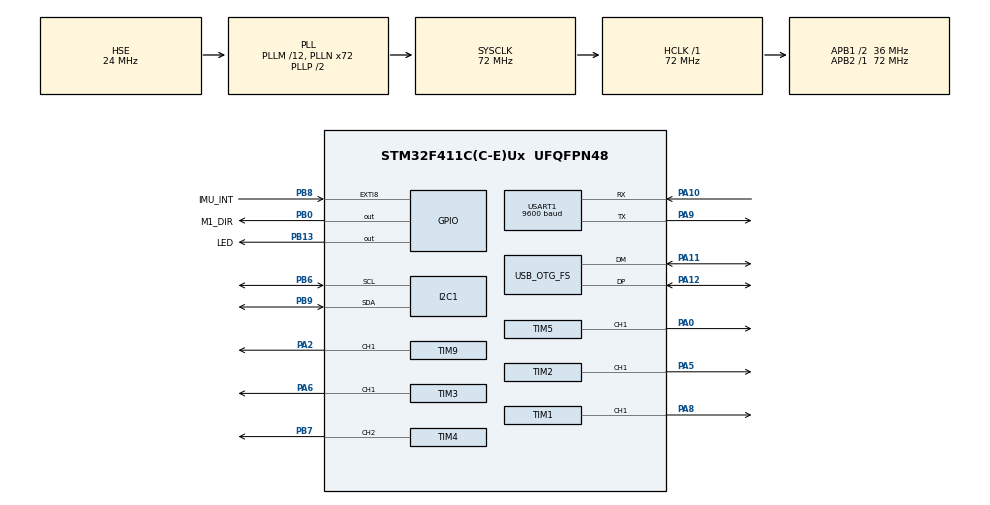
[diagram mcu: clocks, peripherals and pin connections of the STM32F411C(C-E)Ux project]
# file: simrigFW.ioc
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Dma.I2C1_RX.0.Direction=DMA_PERIPH_TO_MEMORY
Dma.I2C1_RX.0.FIFOMode=DMA_FIFOMODE_ENABLE
Dma.I2C1_RX.0.FIFOThreshold=DMA_FIFO_THRESHOLD_FULL
Dma.I2C1_RX.0.Instance=DMA1_Stream0
Dma.I2C1_RX.0.MemBurst=DMA_MBURST_INC16
Dma.I2C1_RX.0.MemDataAlignment=DMA_MDATAALIGN_BYTE
Dma.I2C1_RX.0.MemInc=DMA_MINC_ENABLE
Dma.I2C1_RX.0.Mode=DMA_NORMAL
Dma.I2C1_RX.0.PeriphBurst=DMA_PBURST_SINGLE
Dma.I2C1_RX.0.PeriphDataAlignment=DMA_PDATAALIGN_BYTE
Dma.I2C1_RX.0.PeriphInc=DMA_PINC_DISABLE
Dma.I2C1_RX.0.Priority=DMA_PRIORITY_LOW
Dma.Request0=I2C1_RX
I2C1.I2C_Mode=I2C_Standard
Mcu.Family=STM32F4
Mcu.Name=STM32F411C(C-E)Ux
Mcu.Package=UFQFPN48
NVIC.DMA1_Stream0_IRQn=true\:0\:0\:false\:false\:true\:false\:true\:true
NVIC.EXTI9_5_IRQn=true\:0\:0\:false\:false\:true\:true\:true\:true
NVIC.OTG_FS_IRQn=true\:0\:0\:false\:false\:true\:false\:true\:true
NVIC.PriorityGroup=NVIC_PRIORITYGROUP_4
NVIC.TIM1_UP_TIM10_IRQn=true\:0\:0\:false\:false\:true\:true\:true\:true
PA0-WKUP.Signal=S_TIM5_CH1
PA10.Mode=Asynchronous
PA10.Signal=USART1_RX
PA11.Mode=Device_Only
PA11.Signal=USB_OTG_FS_DM
PA12.Mode=Device_Only
PA12.Signal=USB_OTG_FS_DP
PA13.Mode=Trace_Asynchronous_SW
PA13.Signal=SYS_JTMS-SWDIO
PA14.Mode=Trace_Asynchronous_SW
PA14.Signal=SYS_JTCK-SWCLK
PA2.Signal=S_TIM9_CH1
PA5.Signal=S_TIM2_CH1_ETR
PA6.Signal=S_TIM3_CH1
PA8.Signal=S_TIM1_CH1
PA9.Mode=Asynchronous
PA9.Signal=USART1_TX
PB0.GPIO_Label=M1_DIR
PB0.Signal=GPIO_Output
PB13.GPIO_Label=LED
PB13.Signal=GPIO_Output
PB3.Mode=Trace_Asynchronous_SW
PB3.Signal=SYS_JTDO-SWO
PB6.Mode=I2C
PB6.Signal=I2C1_SCL
PB7.Signal=S_TIM4_CH2
PB8.GPIO_Label=IMU_INT
PB8.Signal=GPXTI8
PB9.Mode=I2C
PB9.Signal=I2C1_SDA
PH0\ -\ OSC_IN.Mode=HSE-External-Oscillator
PH0\ -\ OSC_IN.Signal=RCC_OSC_IN
PH1\ -\ OSC_OUT.Mode=HSE-External-Oscillator
PH1\ -\ OSC_OUT.Signal=RCC_OSC_OUT
ProjectManager.HeapSize=0x200
ProjectManager.StackSize=0x400
ProjectManager.TargetToolchain=STM32CubeIDE
RCC.48MHZClocksFreq_Value=48000000
RCC.AHBFreq_Value=72000000
RCC.APB1CLKDivider=RCC_HCLK_DIV2
RCC.APB1Freq_Value=36000000
RCC.APB1TimFreq_Value=72000000
RCC.APB2Freq_Value=72000000
RCC.APB2TimFreq_Value=72000000
RCC.CortexFreq_Value=72000000
RCC.HCLKFreq_Value=72000000
RCC.HSE_VALUE=24000000
RCC.HSI_VALUE=16000000
RCC.LSE_VALUE=32768
RCC.PLLM=12
RCC.PLLN=72
RCC.PLLQ=3
RCC.SYSCLKFreq_VALUE=72000000
RCC.SYSCLKSource=RCC_SYSCLKSOURCE_PLLCLK
RCC.VCOOutputFreq_Value=144000000
SH.S_TIM1_CH1.0=TIM1_CH1,PWM Generation1 CH1
SH.S_TIM2_CH1_ETR.0=TIM2_CH1,PWM Generation1 CH1
SH.S_TIM3_CH1.0=TIM3_CH1,PWM Generation1 CH1
SH.S_TIM4_CH2.0=TIM4_CH2,PWM Generation2 CH2
SH.S_TIM5_CH1.0=TIM5_CH1,PWM Generation1 CH1
SH.S_TIM9_CH1.0=TIM9_CH1,PWM Generation1 CH1
TIM1.AutoReloadPreload=TIM_AUTORELOAD_PRELOAD_ENABLE
TIM1.Channel-PWM\ Generation1\ CH1=TIM_CHANNEL_1
TIM1.Period=4500
TIM1.Prescaler=0
TIM2.Channel-PWM\ Generation1\ CH1=TIM_CHANNEL_1
TIM2.Period=100-1
TIM2.Prescaler=7200-1
TIM3.Channel-PWM\ Generation1\ CH1=TIM_CHANNEL_1
TIM3.Period=100
TIM3.Prescaler=7200
TIM4.Channel-PWM\ Generation2\ CH2=TIM_CHANNEL_2
TIM4.Period=100-1
TIM4.Prescaler=7200-1
TIM5.Channel-PWM\ Generation1\ CH1=TIM_CHANNEL_1
TIM5.Period=100-1
TIM5.Prescaler=7200-1
TIM9.Channel-PWM\ Generation1\ CH1=TIM_CHANNEL_1
TIM9.Period=100-1
TIM9.Prescaler=7200-1
USART1.BaudRate=9600
USART1.VirtualMode=VM_ASYNC
USB_DEVICE.CLASS_NAME_FS=CDC
USB_DEVICE.VirtualMode=Cdc
USB_DEVICE.VirtualModeFS=Cdc_FS
USB_OTG_FS.VirtualMode=Device_Only
VP_TIM1_VS_ClockSourceINT.Mode=Internal
VP_TIM2_VS_ClockSourceINT.Mode=Internal
VP_TIM3_VS_ClockSourceINT.Mode=Internal
VP_TIM4_VS_ClockSourceINT.Mode=Internal
VP_TIM5_VS_ClockSourceINT.Mode=Internal
VP_TIM9_VS_ClockSourceINT.Mode=Internal
VP_USB_DEVICE_VS_USB_DEVICE_CDC_FS.Mode=CDC_FS
board=custom

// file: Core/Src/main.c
/* USER CODE BEGIN Header */
/**
 ******************************************************************************
 * @file           : main.c
 * @brief          : Main program body
 ******************************************************************************
 * @attention
 *
 * Copyright (c) 2023 STMicroelectronics.
 * All rights reserved.
 *
 * This software is licensed under terms that can be found in the LICENSE file
 * in the root directory of this software component.
 * If no LICENSE file comes with this software, it is provided AS-IS.
 *
 ******************************************************************************
 */
/* USER CODE END Header */
#include "main.h"
#include "usb_device.h"

/* USER CODE BEGIN Includes */
#include "stdio.h"
#include "usbd_cdc_if.h"
#include "mpu6050.h"
#include "math.h"
/* USER CODE END Includes */

/* USER CODE BEGIN PD */
#define MOTOR_DRIVER_PPR 800 // Motor driver is set to 800 pulses per revolution -> 0.45°per pulse
#define BALL_SCREW_PITCH 5	// Ball screw linear actuator pitch  -> 5mm
/* USER CODE END PD */

I2C_HandleTypeDef hi2c1;
DMA_HandleTypeDef hdma_i2c1_rx;

TIM_HandleTypeDef htim1;
TIM_HandleTypeDef htim2;
TIM_HandleTypeDef htim3;
TIM_HandleTypeDef htim4;
TIM_HandleTypeDef htim5;
TIM_HandleTypeDef htim9;

UART_HandleTypeDef huart1;

/* USER CODE BEGIN PV */
dsacc accelerometer_data;
dsgyro gyroscope_data;
bool IMU_read_write = true;
uint8_t user_inp[1];
int16_t pulse_count=0;
int desired_pulse_count=15;
uint16_t intensity = 0;
char txBuf[32];
int keyserved=1;
int motorserved=1;
int LED_dir = 0;
uint8_t imu_data[14];
volatile uint8_t i2cReadInProgress = 0;
int i2c_status;
int accel_read=1;
/* USER CODE END PV */

void SystemClock_Config(void);
static void MX_GPIO_Init(void);
static void MX_DMA_Init(void);
static void MX_I2C1_Init(void);
static void MX_TIM1_Init(void);
static void MX_TIM2_Init(void);
static void MX_TIM3_Init(void);
static void MX_TIM4_Init(void);
static void MX_TIM5_Init(void);
static void MX_TIM9_Init(void);
static void MX_USART1_UART_Init(void);

/* USER CODE BEGIN 0 */
int _write(int file, char *ptr, int len) {
	int DataIdx;
	for (DataIdx = 0; (DataIdx < len); DataIdx++) {
		ITM_SendChar(*ptr++);
	}
	return len;
}

void LED_RGB_Init() {
	HAL_TIM_PWM_Start(&htim1, TIM_CHANNEL_1);
	HAL_TIM_PWM_Start(&htim2, TIM_CHANNEL_1);
	HAL_TIM_PWM_Start(&htim3, TIM_CHANNEL_1);
}

void LED_RGB_SetIntensity(uint8_t red, uint8_t green, uint8_t blue) {
	htim1.Instance->CCR1 = 100 - red;
	htim2.Instance->CCR1 = 100 - green;
	htim3.Instance->CCR1 = 100 - blue;
}

/*	-----calculate_pwm_period
 * This function returns the period that needs to be set for the PWM channel
 * to run the motor at the required speed. For ex,
 * Running the motor driver at 800 pulses per revolution
 * Assuming 5mm pitch ball screw & 100mm/sec -> 20 revolutions / sec
 * 800*20 pulses per second -> 16000 pulses per second
 * 72MHz clock attached to the PWM
 * counter period = 72M/16K = 4500
 * intensity = 4500/2 = 2250
*/
int calculate_pwm_period(int speed){
	int period;
	period = MIN(72000000 / (MOTOR_DRIVER_PPR*(speed / BALL_SCREW_PITCH)),72000);
//	period = 72000;
	HAL_Delay(1);
	return period;
}

//uint8_t MPU6050_IMURead8(uint8_t addr,uint8_t *data){
//
//}

/* USER CODE END 0 */

int main(void)
{

  /* MCU Configuration--------------------------------------------------------*/

  /* Reset of all peripherals, Initializes the Flash interface and the Systick. */
  HAL_Init();

  /* Configure the system clock */
  SystemClock_Config();

  /* USER CODE BEGIN SysInit */
  HAL_NVIC_SetPriority(TIM1_UP_TIM10_IRQn, 0, 0); // Set the priority for TIM1_UP_TIM10_IRQn to the highest
  HAL_NVIC_EnableIRQ(TIM1_UP_TIM10_IRQn); // Enable TIM1_UP_TIM10_IRQn
  /* USER CODE END SysInit */

  /* Initialize all configured peripherals */
  MX_GPIO_Init();
  MX_DMA_Init();
  MX_I2C1_Init();
  MX_TIM1_Init();
  MX_TIM2_Init();
  MX_TIM3_Init();
  MX_TIM4_Init();
  MX_TIM5_Init();
  MX_TIM9_Init();
  MX_USB_DEVICE_Init();
  MX_USART1_UART_Init();
  /* USER CODE BEGIN 2 */
	LED_RGB_Init();
	int m_dir = cw;
	int period = 65535;
	imuStatus mpu_status = mpu6050_init();
	double calib_acc_data_x;
	double calib_acc_data_y;
	double calib_acc_data_z;
	double acc_pitch=0.0,acc_roll=0.0,acc_yaw=0.0;
	double pitch=0.0,roll=0.0,yaw=0.0;
	double alpha=0.5;
	double g = 9.81;
	//gyro is configured to run at 500deg/sec -> 65.5LSB/°/s refer REG_CONFIG_GYRO in IMU initialization
	float gyro_LSB_sensitivity = 500;
	uint32_t start_time=0;
	uint16_t delta_time=0;

	if (HAL_TIM_Base_Start_IT(&htim1) != HAL_OK){
	  sprintf(txBuf, "%u\r\n", mpu_status);
	  CDC_Transmit_FS((uint8_t*) txBuf, strlen(txBuf));
	  HAL_Delay(5);
	}
  /* USER CODE END 2 */

  /* Infinite loop */
  /* USER CODE BEGIN WHILE */
	accelerometer_data.accel_x=1;
	accelerometer_data.accel_y=1;
	accelerometer_data.accel_z=1;

	gyroscope_data.gyro_x=1;
	gyroscope_data.gyro_y=1;
	gyroscope_data.gyro_z=1;

	if (mpu_status != HAL_OK) {
		sprintf(txBuf, "%u\r\n", mpu_status);
		CDC_Transmit_FS((uint8_t*) txBuf, strlen(txBuf));
	} else {
//		HAL_GPIO_WritePin(GPIOB, LED_Pin, GPIO_PIN_SET);
		start_time = HAL_GetTick();
		while (1) {
			delta_time = HAL_GetTick() - start_time;
			start_time = HAL_GetTick();
//			*accelerationPtr = mpu6050_read(0);
			if (IMU_read_write) {
				IMU_read_write = 0;
//				sprintf(txBuf, "%hd\t%hd\t%hd\r\n", accelerometer_data.accel_x,accelerometer_data.accel_y,accelerometer_data.accel_z);
//				CDC_Transmit_FS((uint8_t*) txBuf, strlen(txBuf));

				calib_acc_data_x = (int16_t)(accelerometer_data.accel_x*ACCELEROMETER_SENSITIVITY_FS_4G);
				calib_acc_data_y = (int16_t)(accelerometer_data.accel_y*ACCELEROMETER_SENSITIVITY_FS_4G);
				calib_acc_data_z = (int16_t)(accelerometer_data.accel_z*ACCELEROMETER_SENSITIVITY_FS_4G);

				acc_pitch = 180 * atan2(calib_acc_data_x , sqrt(calib_acc_data_y * calib_acc_data_y + calib_acc_data_z * calib_acc_data_z))/M_PI;
				acc_roll = 180 * atan2(calib_acc_data_y , sqrt(calib_acc_data_x * calib_acc_data_x + calib_acc_data_z * calib_acc_data_z))/M_PI;
				acc_yaw = 180 * atan2(calib_acc_data_z , sqrt(calib_acc_data_y * calib_acc_data_y + calib_acc_data_x * calib_acc_data_x))/M_PI;

				pitch = pitch + (int16_t)(gyroscope_data.gyro_x / gyro_LSB_sensitivity ) * (delta_time);
				roll = roll + (int16_t) (gyroscope_data.gyro_y / gyro_LSB_sensitivity ) * (delta_time);
				yaw = yaw + (int16_t) (gyroscope_data.gyro_z / gyro_LSB_sensitivity ) * (delta_time);

				pitch = alpha * pitch + (1 - alpha) * acc_pitch;
				roll = alpha * roll + (1 - alpha) * acc_roll;
				yaw = alpha * yaw + (1 - alpha) * acc_yaw;

//				sprintf(txBuf, "%lf\t%lf\t%lf\r\n", pitch,roll,yaw);
//				CDC_Transmit_FS((uint8_t*) txBuf, strlen(txBuf));

//				sprintf(txBuf, "%d\r\n", delta_time);
//				CDC_Transmit_FS((uint8_t*) txBuf, strlen(txBuf));

				HAL_Delay(1);
//				sprintf(txBuf, "y:%hd\r\n", accelerometer_data.accel_y);
//				CDC_Transmit_FS((uint8_t*) txBuf, strlen(txBuf));
//				HAL_Delay(1);
//				sprintf(txBuf, "z:%hd\r\n", accelerometer_data.accel_z);
//				CDC_Transmit_FS((uint8_t*) txBuf, strlen(txBuf));
//				HAL_Delay(1);
				IMU_read_write = 1;
			}
//
//			HAL_Delay(1);
			if(user_inp[0]== 0x0D ){//Enter key
				if(!keyserved){
					keyserved=1;
					m_dir = cw;
					period = calculate_pwm_period(10);//10mm/second speed
					intensity = period/2;
					HAL_Delay(1);
					motorserved=0;
					sprintf(txBuf, "Enter\r\n");
					CDC_Transmit_FS((uint8_t*) txBuf, strlen(txBuf));
//					memset(user_inp,'q',8);
				}
			}else if(user_inp[0]==0x79){//key 'y'
				if(!keyserved){
					keyserved=1;
					m_dir = ccw;
					period = calculate_pwm_period(70);
					intensity = period/2;
					HAL_Delay(1);
					motorserved=0;
					sprintf(txBuf, "ykey\r\n");
					CDC_Transmit_FS((uint8_t*) txBuf, strlen(txBuf));
				}
			}else if(user_inp[0]==0x71){//key 'q'
				if(!keyserved){
					keyserved=1;
					intensity = 0;
					HAL_Delay(1);
					motorserved=0;
					sprintf(txBuf, "qkey\r\n");
					CDC_Transmit_FS((uint8_t*) txBuf, strlen(txBuf));
				}
			}

			if(!motorserved){
				HAL_GPIO_WritePin(GPIOB, LED_Pin, LED_dir);
				HAL_GPIO_WritePin(GPIOB, M1_DIR_Pin, m_dir);
				// Todo - Handle the reset of the period better
				// set intensity to 0 before changing the period
				htim1.Instance->ARR = period;
				htim1.Instance->CCR1 = intensity;
				if(desired_pulse_count-1>0){
					htim1.Instance->RCR = desired_pulse_count-1;
				}else{
					htim1.Instance->RCR = 0;
				}
				HAL_Delay(1);
				motorserved=1;
			}
		}
	}
    /* USER CODE END WHILE */

}

void SystemClock_Config(void)
{
  RCC_OscInitTypeDef RCC_OscInitStruct = {0};
  RCC_ClkInitTypeDef RCC_ClkInitStruct = {0};

  /** Configure the main internal regulator output voltage
  */
  __HAL_RCC_PWR_CLK_ENABLE();
  __HAL_PWR_VOLTAGESCALING_CONFIG(PWR_REGULATOR_VOLTAGE_SCALE1);

  /** Initializes the RCC Oscillators according to the specified parameters
  * in the RCC_OscInitTypeDef structure.
  */
  RCC_OscInitStruct.OscillatorType = RCC_OSCILLATORTYPE_HSE;
  RCC_OscInitStruct.HSEState = RCC_HSE_ON;
  RCC_OscInitStruct.PLL.PLLState = RCC_PLL_ON;
  RCC_OscInitStruct.PLL.PLLSource = RCC_PLLSOURCE_HSE;
  RCC_OscInitStruct.PLL.PLLM = 12;
  RCC_OscInitStruct.PLL.PLLN = 72;
  RCC_OscInitStruct.PLL.PLLP = RCC_PLLP_DIV2;
  RCC_OscInitStruct.PLL.PLLQ = 3;
  if (HAL_RCC_OscConfig(&RCC_OscInitStruct) != HAL_OK)
  {
    Error_Handler();
  }

  /** Initializes the CPU, AHB and APB buses clocks
  */
  RCC_ClkInitStruct.ClockType = RCC_CLOCKTYPE_HCLK|RCC_CLOCKTYPE_SYSCLK
                              |RCC_CLOCKTYPE_PCLK1|RCC_CLOCKTYPE_PCLK2;
  RCC_ClkInitStruct.SYSCLKSource = RCC_SYSCLKSOURCE_PLLCLK;
  RCC_ClkInitStruct.AHBCLKDivider = RCC_SYSCLK_DIV1;
  RCC_ClkInitStruct.APB1CLKDivider = RCC_HCLK_DIV2;
  RCC_ClkInitStruct.APB2CLKDivider = RCC_HCLK_DIV1;

  if (HAL_RCC_ClockConfig(&RCC_ClkInitStruct, FLASH_LATENCY_2) != HAL_OK)
  {
    Error_Handler();
  }
}

static void MX_I2C1_Init(void)
{

  hi2c1.Instance = I2C1;
  hi2c1.Init.ClockSpeed = 100000;
  hi2c1.Init.DutyCycle = I2C_DUTYCYCLE_2;
  hi2c1.Init.OwnAddress1 = 0;
  hi2c1.Init.AddressingMode = I2C_ADDRESSINGMODE_7BIT;
  hi2c1.Init.DualAddressMode = I2C_DUALADDRESS_DISABLE;
  hi2c1.Init.OwnAddress2 = 0;
  hi2c1.Init.GeneralCallMode = I2C_GENERALCALL_DISABLE;
  hi2c1.Init.NoStretchMode = I2C_NOSTRETCH_DISABLE;
  if (HAL_I2C_Init(&hi2c1) != HAL_OK)
  {
    Error_Handler();
  }

}

static void MX_TIM1_Init(void)
{

  TIM_ClockConfigTypeDef sClockSourceConfig = {0};
  TIM_MasterConfigTypeDef sMasterConfig = {0};
  TIM_OC_InitTypeDef sConfigOC = {0};
  TIM_BreakDeadTimeConfigTypeDef sBreakDeadTimeConfig = {0};

  htim1.Instance = TIM1;
  htim1.Init.Prescaler = 0;
  htim1.Init.CounterMode = TIM_COUNTERMODE_UP;
  htim1.Init.Period = 4500;
  htim1.Init.ClockDivision = TIM_CLOCKDIVISION_DIV1;
  htim1.Init.RepetitionCounter = 0;
  htim1.Init.AutoReloadPreload = TIM_AUTORELOAD_PRELOAD_ENABLE;
  if (HAL_TIM_Base_Init(&htim1) != HAL_OK)
  {
    Error_Handler();
  }
  sClockSourceConfig.ClockSource = TIM_CLOCKSOURCE_INTERNAL;
  if (HAL_TIM_ConfigClockSource(&htim1, &sClockSourceConfig) != HAL_OK)
  {
    Error_Handler();
  }
  if (HAL_TIM_PWM_Init(&htim1) != HAL_OK)
  {
    Error_Handler();
  }
  sMasterConfig.MasterOutputTrigger = TIM_TRGO_RESET;
  sMasterConfig.MasterSlaveMode = TIM_MASTERSLAVEMODE_DISABLE;
  if (HAL_TIMEx_MasterConfigSynchronization(&htim1, &sMasterConfig) != HAL_OK)
  {
    Error_Handler();
  }
  sConfigOC.OCMode = TIM_OCMODE_PWM1;
  sConfigOC.Pulse = 0;
  sConfigOC.OCPolarity = TIM_OCPOLARITY_HIGH;
  sConfigOC.OCNPolarity = TIM_OCNPOLARITY_HIGH;
  sConfigOC.OCFastMode = TIM_OCFAST_DISABLE;
  sConfigOC.OCIdleState = TIM_OCIDLESTATE_RESET;
  sConfigOC.OCNIdleState = TIM_OCNIDLESTATE_RESET;
  if (HAL_TIM_PWM_ConfigChannel(&htim1, &sConfigOC, TIM_CHANNEL_1) != HAL_OK)
  {
    Error_Handler();
  }
  sBreakDeadTimeConfig.OffStateRunMode = TIM_OSSR_DISABLE;
  sBreakDeadTimeConfig.OffStateIDLEMode = TIM_OSSI_DISABLE;
  sBreakDeadTimeConfig.LockLevel = TIM_LOCKLEVEL_OFF;
  sBreakDeadTimeConfig.DeadTime = 0;
  sBreakDeadTimeConfig.BreakState = TIM_BREAK_DISABLE;
  sBreakDeadTimeConfig.BreakPolarity = TIM_BREAKPOLARITY_HIGH;
  sBreakDeadTimeConfig.AutomaticOutput = TIM_AUTOMATICOUTPUT_DISABLE;
  if (HAL_TIMEx_ConfigBreakDeadTime(&htim1, &sBreakDeadTimeConfig) != HAL_OK)
  {
    Error_Handler();
  }
  HAL_TIM_MspPostInit(&htim1);

}

static void MX_TIM2_Init(void)
{

  TIM_ClockConfigTypeDef sClockSourceConfig = {0};
  TIM_MasterConfigTypeDef sMasterConfig = {0};
  TIM_OC_InitTypeDef sConfigOC = {0};

  htim2.Instance = TIM2;
  htim2.Init.Prescaler = 7200-1;
  htim2.Init.CounterMode = TIM_COUNTERMODE_UP;
  htim2.Init.Period = 100-1;
  htim2.Init.ClockDivision = TIM_CLOCKDIVISION_DIV1;
  htim2.Init.AutoReloadPreload = TIM_AUTORELOAD_PRELOAD_DISABLE;
  if (HAL_TIM_Base_Init(&htim2) != HAL_OK)
  {
    Error_Handler();
  }
  sClockSourceConfig.ClockSource = TIM_CLOCKSOURCE_INTERNAL;
  if (HAL_TIM_ConfigClockSource(&htim2, &sClockSourceConfig) != HAL_OK)
  {
    Error_Handler();
  }
  if (HAL_TIM_PWM_Init(&htim2) != HAL_OK)
  {
    Error_Handler();
  }
  sMasterConfig.MasterOutputTrigger = TIM_TRGO_RESET;
  sMasterConfig.MasterSlaveMode = TIM_MASTERSLAVEMODE_DISABLE;
  if (HAL_TIMEx_MasterConfigSynchronization(&htim2, &sMasterConfig) != HAL_OK)
  {
    Error_Handler();
  }
  sConfigOC.OCMode = TIM_OCMODE_PWM1;
  sConfigOC.Pulse = 0;
  sConfigOC.OCPolarity = TIM_OCPOLARITY_HIGH;
  sConfigOC.OCFastMode = TIM_OCFAST_DISABLE;
  if (HAL_TIM_PWM_ConfigChannel(&htim2, &sConfigOC, TIM_CHANNEL_1) != HAL_OK)
  {
    Error_Handler();
  }
  HAL_TIM_MspPostInit(&htim2);

}

static void MX_TIM3_Init(void)
{

  TIM_ClockConfigTypeDef sClockSourceConfig = {0};
  TIM_MasterConfigTypeDef sMasterConfig = {0};
  TIM_OC_InitTypeDef sConfigOC = {0};

  htim3.Instance = TIM3;
  htim3.Init.Prescaler = 7200;
  htim3.Init.CounterMode = TIM_COUNTERMODE_UP;
  htim3.Init.Period = 100;
  htim3.Init.ClockDivision = TIM_CLOCKDIVISION_DIV1;
  htim3.Init.AutoReloadPreload = TIM_AUTORELOAD_PRELOAD_DISABLE;
  if (HAL_TIM_Base_Init(&htim3) != HAL_OK)
  {
    Error_Handler();
  }
  sClockSourceConfig.ClockSource = TIM_CLOCKSOURCE_INTERNAL;
  if (HAL_TIM_ConfigClockSource(&htim3, &sClockSourceConfig) != HAL_OK)
  {
    Error_Handler();
  }
  if (HAL_TIM_PWM_Init(&htim3) != HAL_OK)
  {
    Error_Handler();
  }
  sMasterConfig.MasterOutputTrigger = TIM_TRGO_RESET;
  sMasterConfig.MasterSlaveMode = TIM_MASTERSLAVEMODE_DISABLE;
  if (HAL_TIMEx_MasterConfigSynchronization(&htim3, &sMasterConfig) != HAL_OK)
  {
    Error_Handler();
  }
  sConfigOC.OCMode = TIM_OCMODE_PWM1;
  sConfigOC.Pulse = 0;
  sConfigOC.OCPolarity = TIM_OCPOLARITY_HIGH;
  sConfigOC.OCFastMode = TIM_OCFAST_DISABLE;
  if (HAL_TIM_PWM_ConfigChannel(&htim3, &sConfigOC, TIM_CHANNEL_1) != HAL_OK)
  {
    Error_Handler();
  }
  HAL_TIM_MspPostInit(&htim3);

}

static void MX_TIM4_Init(void)
{

  TIM_ClockConfigTypeDef sClockSourceConfig = {0};
  TIM_MasterConfigTypeDef sMasterConfig = {0};
  TIM_OC_InitTypeDef sConfigOC = {0};

  htim4.Instance = TIM4;
  htim4.Init.Prescaler = 7200-1;
  htim4.Init.CounterMode = TIM_COUNTERMODE_UP;
  htim4.Init.Period = 100-1;
  htim4.Init.ClockDivision = TIM_CLOCKDIVISION_DIV1;
  htim4.Init.AutoReloadPreload = TIM_AUTORELOAD_PRELOAD_DISABLE;
  if (HAL_TIM_Base_Init(&htim4) != HAL_OK)
  {
    Error_Handler();
  }
  sClockSourceConfig.ClockSource = TIM_CLOCKSOURCE_INTERNAL;
  if (HAL_TIM_ConfigClockSource(&htim4, &sClockSourceConfig) != HAL_OK)
  {
    Error_Handler();
  }
  if (HAL_TIM_PWM_Init(&htim4) != HAL_OK)
  {
    Error_Handler();
  }
  sMasterConfig.MasterOutputTrigger = TIM_TRGO_RESET;
  sMasterConfig.MasterSlaveMode = TIM_MASTERSLAVEMODE_DISABLE;
  if (HAL_TIMEx_MasterConfigSynchronization(&htim4, &sMasterConfig) != HAL_OK)
  {
    Error_Handler();
  }
  sConfigOC.OCMode = TIM_OCMODE_PWM1;
  sConfigOC.Pulse = 0;
  sConfigOC.OCPolarity = TIM_OCPOLARITY_HIGH;
  sConfigOC.OCFastMode = TIM_OCFAST_DISABLE;
  if (HAL_TIM_PWM_ConfigChannel(&htim4, &sConfigOC, TIM_CHANNEL_2) != HAL_OK)
  {
    Error_Handler();
  }
  HAL_TIM_MspPostInit(&htim4);

}

static void MX_TIM5_Init(void)
{

  TIM_ClockConfigTypeDef sClockSourceConfig = {0};
  TIM_MasterConfigTypeDef sMasterConfig = {0};
  TIM_OC_InitTypeDef sConfigOC = {0};

  htim5.Instance = TIM5;
  htim5.Init.Prescaler = 7200-1;
  htim5.Init.CounterMode = TIM_COUNTERMODE_UP;
  htim5.Init.Period = 100-1;
  htim5.Init.ClockDivision = TIM_CLOCKDIVISION_DIV1;
  htim5.Init.AutoReloadPreload = TIM_AUTORELOAD_PRELOAD_DISABLE;
  if (HAL_TIM_Base_Init(&htim5) != HAL_OK)
  {
    Error_Handler();
  }
  sClockSourceConfig.ClockSource = TIM_CLOCKSOURCE_INTERNAL;
  if (HAL_TIM_ConfigClockSource(&htim5, &sClockSourceConfig) != HAL_OK)
  {
    Error_Handler();
  }
  if (HAL_TIM_PWM_Init(&htim5) != HAL_OK)
  {
    Error_Handler();
  }
  sMasterConfig.MasterOutputTrigger = TIM_TRGO_RESET;
  sMasterConfig.MasterSlaveMode = TIM_MASTERSLAVEMODE_DISABLE;
  if (HAL_TIMEx_MasterConfigSynchronization(&htim5, &sMasterConfig) != HAL_OK)
  {
    Error_Handler();
  }
  sConfigOC.OCMode = TIM_OCMODE_PWM1;
  sConfigOC.Pulse = 0;
  sConfigOC.OCPolarity = TIM_OCPOLARITY_HIGH;
  sConfigOC.OCFastMode = TIM_OCFAST_DISABLE;
  if (HAL_TIM_PWM_ConfigChannel(&htim5, &sConfigOC, TIM_CHANNEL_1) != HAL_OK)
  {
    Error_Handler();
  }
  HAL_TIM_MspPostInit(&htim5);

}

static void MX_TIM9_Init(void)
{

  TIM_ClockConfigTypeDef sClockSourceConfig = {0};
  TIM_OC_InitTypeDef sConfigOC = {0};

  htim9.Instance = TIM9;
  htim9.Init.Prescaler = 7200-1;
  htim9.Init.CounterMode = TIM_COUNTERMODE_UP;
  htim9.Init.Period = 100-1;
  htim9.Init.ClockDivision = TIM_CLOCKDIVISION_DIV1;
  htim9.Init.AutoReloadPreload = TIM_AUTORELOAD_PRELOAD_DISABLE;
  if (HAL_TIM_Base_Init(&htim9) != HAL_OK)
  {
    Error_Handler();
  }
  sClockSourceConfig.ClockSource = TIM_CLOCKSOURCE_INTERNAL;
  if (HAL_TIM_ConfigClockSource(&htim9, &sClockSourceConfig) != HAL_OK)
  {
    Error_Handler();
  }
  if (HAL_TIM_PWM_Init(&htim9) != HAL_OK)
  {
    Error_Handler();
  }
  sConfigOC.OCMode = TIM_OCMODE_PWM1;
  sConfigOC.Pulse = 0;
  sConfigOC.OCPolarity = TIM_OCPOLARITY_HIGH;
  sConfigOC.OCFastMode = TIM_OCFAST_DISABLE;
  if (HAL_TIM_PWM_ConfigChannel(&htim9, &sConfigOC, TIM_CHANNEL_1) != HAL_OK)
  {
    Error_Handler();
  }
  HAL_TIM_MspPostInit(&htim9);

}

static void MX_USART1_UART_Init(void)
{

  huart1.Instance = USART1;
  huart1.Init.BaudRate = 9600;
  huart1.Init.WordLength = UART_WORDLENGTH_8B;
  huart1.Init.StopBits = UART_STOPBITS_1;
  huart1.Init.Parity = UART_PARITY_NONE;
  huart1.Init.Mode = UART_MODE_TX_RX;
  huart1.Init.HwFlowCtl = UART_HWCONTROL_NONE;
  huart1.Init.OverSampling = UART_OVERSAMPLING_16;
  if (HAL_UART_Init(&huart1) != HAL_OK)
  {
    Error_Handler();
  }

}

static void MX_DMA_Init(void)
{

  /* DMA controller clock enable */
  __HAL_RCC_DMA1_CLK_ENABLE();

  /* DMA interrupt init */
  /* DMA1_Stream0_IRQn interrupt configuration */
  HAL_NVIC_SetPriority(DMA1_Stream0_IRQn, 0, 0);
  HAL_NVIC_EnableIRQ(DMA1_Stream0_IRQn);

}

static void MX_GPIO_Init(void)
{
  GPIO_InitTypeDef GPIO_InitStruct = {0};

  /* GPIO Ports Clock Enable */
  __HAL_RCC_GPIOH_CLK_ENABLE();
  __HAL_RCC_GPIOA_CLK_ENABLE();
  __HAL_RCC_GPIOB_CLK_ENABLE();

  /*Configure GPIO pin Output Level */
  HAL_GPIO_WritePin(GPIOB, M1_DIR_Pin|LED_Pin, GPIO_PIN_RESET);

  /*Configure GPIO pins : M1_DIR_Pin LED_Pin */
  GPIO_InitStruct.Pin = M1_DIR_Pin|LED_Pin;
  GPIO_InitStruct.Mode = GPIO_MODE_OUTPUT_PP;
  GPIO_InitStruct.Pull = GPIO_NOPULL;
  GPIO_InitStruct.Speed = GPIO_SPEED_FREQ_LOW;
  HAL_GPIO_Init(GPIOB, &GPIO_InitStruct);

  /*Configure GPIO pin : IMU_INT_Pin */
  GPIO_InitStruct.Pin = IMU_INT_Pin;
  GPIO_InitStruct.Mode = GPIO_MODE_IT_RISING;
  GPIO_InitStruct.Pull = GPIO_NOPULL;
  HAL_GPIO_Init(IMU_INT_GPIO_Port, &GPIO_InitStruct);

  /* EXTI interrupt init*/
  HAL_NVIC_SetPriority(EXTI9_5_IRQn, 0, 0);
  HAL_NVIC_EnableIRQ(EXTI9_5_IRQn);

}

/* USER CODE BEGIN 4 */
	void HAL_GPIO_EXTI_Callback(uint16_t GPIO_Pin) {
		if (GPIO_Pin == IMU_INT_Pin) {
			mpu6050_imu_read();
		} else {
			__NOP();
		}
	}

	void HAL_TIM_PeriodElapsedCallback(TIM_HandleTypeDef *htim){
		// Handle Timer 1 update event
		intensity = 0;
		motorserved= 0;
		pulse_count=0;
	}

	// This callback is called when the I2C read operation is completed
	void HAL_I2C_MemRxCpltCallback(I2C_HandleTypeDef *hi2c) {
	    // Process the received I2C data

		accelerometer_data.accel_x = (int16_t)((int16_t)(imu_data[0] << 8) | imu_data[1]);
		accelerometer_data.accel_y = (int16_t)((int16_t)(imu_data[2] << 8) | imu_data[3]);
		accelerometer_data.accel_z = (int16_t)((int16_t)(imu_data[4] << 8) | imu_data[5]);
		gyroscope_data.gyro_x = (int16_t)((int16_t)(imu_data[8] << 8) | imu_data[9]);
		gyroscope_data.gyro_y = (int16_t)((int16_t)(imu_data[10] << 8) | imu_data[11]);
		gyroscope_data.gyro_z = (int16_t)((int16_t)(imu_data[12] << 8) | imu_data[13]);

	    // Reset the flag to allow another I2C read operation
		LED_dir = !LED_dir;
	    i2cReadInProgress = 0;
	}

/* USER CODE END 4 */

void Error_Handler(void)
{
		__disable_irq();
		while (1) {
		}
}
